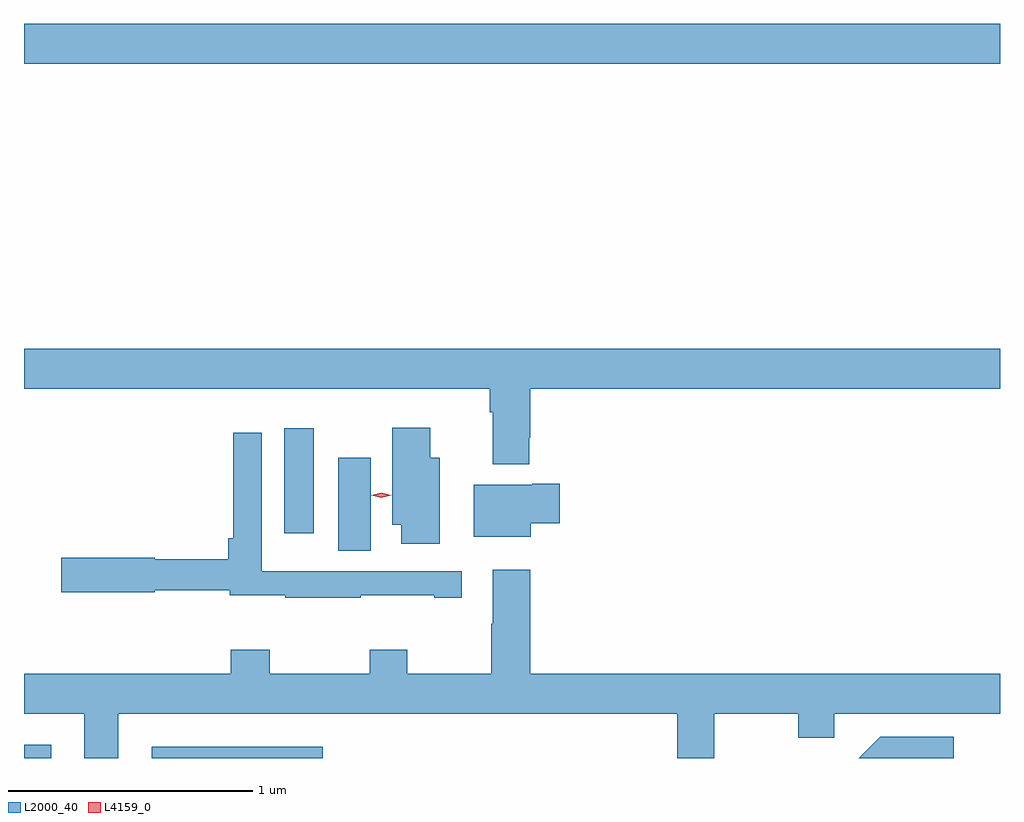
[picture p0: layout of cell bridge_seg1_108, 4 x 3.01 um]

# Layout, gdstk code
import gdstk
lib = gdstk.Library(unit=1e-6, precision=1e-09)
def R(c, l, rs):  # rectangles x0, y0, x1, y1
    for r in rs: c.add(gdstk.rectangle(r[:2], r[2:], *l))
def P(c, l, *ps):  # polygons
    for p in ps: c.add(gdstk.Polygon(p, *l))
L2000_40 = (2000, 40)
L4159_0 = (4159, 0)

bridge_seg1_108 = lib.new_cell('bridge_seg1_108')
R(bridge_seg1_108, L2000_40, [(131.218,575.525,131.329,575.581), (131.741,575.525,132.442,575.572), (132.506,576.376,132.64,576.757), (132.284,576.447,132.406,576.877), (131.218,578.372,135.218,578.536)])
P(bridge_seg1_108, L2000_40, [(133.288,576.838),(133.292,576.838),(133.292,577.04),(135.218,577.04),(135.218,577.204),(131.218,577.204),(131.218,577.04),(133.127,577.04),(133.127,576.944),(133.139,576.944),(133.139,576.731),(133.288,576.731)],
  [(132.922,576.757),(132.883,576.757),(132.883,576.88),(132.728,576.88),(132.728,576.482),(132.764,576.482),(132.764,576.405),(132.922,576.405)],
  [(132.599,576.193),(132.899,576.193),(132.899,576.183),(133.012,576.183),(133.012,576.291),(132.402,576.291),(132.402,576.292),(132.192,576.292),(132.192,576.859),(132.076,576.859),(132.076,576.427),(132.055,576.427),(132.055,576.341),(131.754,576.341),(131.754,576.347),(131.37,576.347),(131.37,576.205),(131.754,576.205),(131.754,576.213),(132.062,576.213),(132.062,576.193),(132.289,576.193),(132.289,576.183),(132.599,576.183)],
  [(133.294,576.488),(133.414,576.488),(133.414,576.651),(133.301,576.651),(133.301,576.646),(133.061,576.646),(133.061,576.434),(133.294,576.434)],
  [(131.605,575.708),(133.895,575.708),(133.895,575.525),(134.047,575.525),(134.047,575.708),(134.392,575.708),(134.392,575.609),(134.539,575.609),(134.539,575.708),(135.218,575.708),(135.218,575.872),(133.292,575.872),(133.292,576.298),(133.139,576.298),(133.139,576.077),(133.132,576.077),(133.132,575.872),(132.789,575.872),(132.789,575.971),(132.634,575.971),(132.634,575.872),(132.225,575.872),(132.225,575.971),(132.065,575.971),(132.065,575.872),(131.218,575.872),(131.218,575.708),(131.465,575.708),(131.465,575.525),(131.605,575.525)],
  [(135.028,575.613),(134.727,575.613),(134.64,575.525),(135.028,575.525)])
P(bridge_seg1_108, L4159_0, [(132.682,576.593),(132.641,576.603),(132.641,576.603),(132.641,576.603),(132.682,576.613),(132.724,576.604),(132.724,576.603),(132.724,576.603)])

lib.write_gds('bridge_seg1_108.gds')
